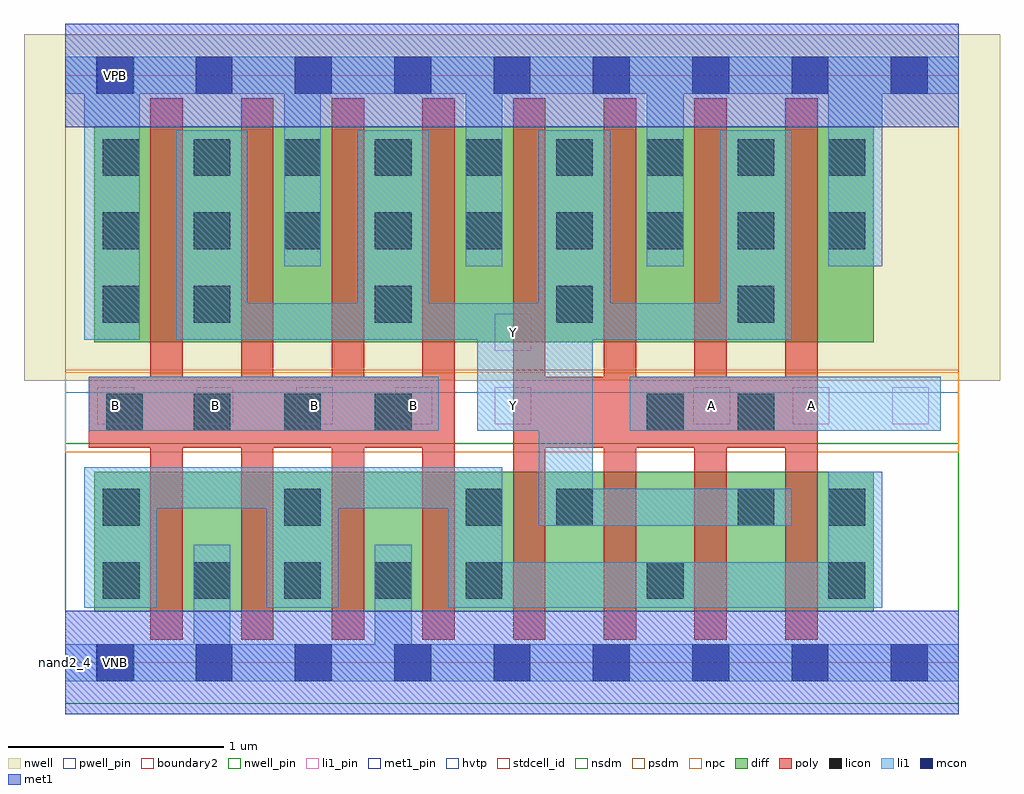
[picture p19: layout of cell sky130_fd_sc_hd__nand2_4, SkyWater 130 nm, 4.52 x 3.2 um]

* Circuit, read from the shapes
.subckt sky130_fd_sc_hd__nand2_4 A B VGND VNB VPB VPWR Y
XM1 VGND B n1 VNB sky130_fd_pr__nfet_01v8 w=0.65 l=0.15 m=4
XM2 Y A n1 VNB sky130_fd_pr__nfet_01v8 w=0.65 l=0.15 m=4
XM3 Y B VPWR VPB sky130_fd_pr__pfet_01v8_hvt w=1 l=0.15 m=4
XM4 Y A VPWR VPB sky130_fd_pr__pfet_01v8_hvt w=1 l=0.15 m=4
.ends

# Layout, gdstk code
import gdstk
lib = gdstk.Library(unit=1e-6, precision=1e-09)
def R(c, l, rs):  # rectangles x0, y0, x1, y1
    for r in rs: c.add(gdstk.rectangle(r[:2], r[2:], *l))
def A(c, l, x, y, w, h, nx, ny, dx, dy):  # array of equal rectangles
    R(c, l, [(x+i*dx, y+j*dy, x+i*dx+w, y+j*dy+h) for i in range(nx) for j in range(ny)])
def P(c, l, *ps):  # polygons
    for p in ps: c.add(gdstk.Polygon(p, *l))
nwell_pin = (64, 16)
nwell = (64, 20)
diff = (65, 20)
poly = (66, 20)
licon = (66, 44)
li1_pin = (67, 16)
li1 = (67, 20)
mcon = (67, 44)
met1_pin = (68, 16)
met1 = (68, 20)
hvtp = (78, 44)
stdcell_id = (81, 4)
nsdm = (93, 44)
psdm = (94, 20)
npc = (95, 20)
pwell_pin = (122, 16)
boundary2 = (236, 0)

sky130_fd_sc_hd__nand2_4 = lib.new_cell('sky130_fd_sc_hd__nand2_4')
R(sky130_fd_sc_hd__nand2_4, nwell_pin, [(0.15,2.635,0.32,2.805)])
R(sky130_fd_sc_hd__nand2_4, nwell, [(-0.19,1.305,4.33,2.91)])
R(sky130_fd_sc_hd__nand2_4, diff, [(0.135,0.235,3.745,0.885), (0.135,1.485,3.745,2.485)])
P(sky130_fd_sc_hd__nand2_4, poly, [(1.805,2.615),(1.655,2.615),(1.655,1.325),(1.385,1.325),(1.385,2.615),(1.235,2.615),(1.235,1.325),(0.965,1.325),(0.965,2.615),(0.815,2.615),(0.815,1.325),(0.545,1.325),(0.545,2.615),(0.395,2.615),(0.395,1.325),(0.11,1.325),(0.11,0.995),(0.395,0.995),(0.395,0.105),(0.545,0.105),(0.545,0.995),(0.815,0.995),(0.815,0.105),(0.965,0.105),(0.965,0.995),(1.235,0.995),(1.235,0.105),(1.385,0.105),(1.385,0.995),(1.655,0.995),(1.655,0.105),(1.805,0.105)],
  [(3.485,2.615),(3.335,2.615),(3.335,1.325),(3.065,1.325),(3.065,2.615),(2.915,2.615),(2.915,1.325),(2.645,1.325),(2.645,2.615),(2.495,2.615),(2.495,1.325),(2.225,1.325),(2.225,2.615),(2.075,2.615),(2.075,0.105),(2.225,0.105),(2.225,0.995),(2.495,0.995),(2.495,0.105),(2.645,0.105),(2.645,0.995),(2.915,0.995),(2.915,0.105),(3.065,0.105),(3.065,0.995),(3.335,0.995),(3.335,0.105),(3.485,0.105)])
A(sky130_fd_sc_hd__nand2_4, licon, 0.175, 0.295, 0.17, 0.17, 5, 1, 0.42, 0)
A(sky130_fd_sc_hd__nand2_4, licon, 0.175, 0.635, 0.17, 0.17, 3, 1, 0.84, 0)
A(sky130_fd_sc_hd__nand2_4, licon, 0.595, 1.075, 0.17, 0.17, 3, 1, 0.42, 0)
A(sky130_fd_sc_hd__nand2_4, licon, 0.595, 1.575, 0.17, 0.17, 4, 1, 0.84, 0)
A(sky130_fd_sc_hd__nand2_4, licon, 0.175, 1.915, 0.17, 0.17, 9, 2, 0.42, 0.34)
R(sky130_fd_sc_hd__nand2_4, licon, [(2.695,0.295,2.865,0.465), (3.535,0.295,3.705,0.465), (2.275,0.635,2.445,0.805), (3.115,0.635,3.285,0.805), (3.535,0.635,3.705,0.805), (0.19,1.075,0.36,1.245), (2.695,1.075,2.865,1.245), (3.115,1.075,3.285,1.245), (0.175,1.575,0.345,1.745)])
A(sky130_fd_sc_hd__nand2_4, li1_pin, 0.15, 1.105, 0.17, 0.17, 5, 1, 0.46, 0)
A(sky130_fd_sc_hd__nand2_4, li1_pin, 2.91, 1.105, 0.17, 0.17, 3, 1, 0.46, 0)
R(sky130_fd_sc_hd__nand2_4, li1_pin, [(1.99,1.445,2.16,1.615)])
R(sky130_fd_sc_hd__nand2_4, li1, [(0.11,1.075,1.73,1.325), (2.615,1.075,4.055,1.325)])
P(sky130_fd_sc_hd__nand2_4, li1, [(4.14,0.085),(1.605,0.085),(1.605,0.545),(1.435,0.545),(1.435,0.085),(0.765,0.085),(0.765,0.545),(0.595,0.545),(0.595,0.085),(0,0.085),(0,-0.085),(4.14,-0.085)],
  [(4.14,2.805),(0,2.805),(0,2.635),(0.09,2.635),(0.09,1.495),(0.345,1.495),(0.345,2.635),(1.015,2.635),(1.015,1.835),(1.185,1.835),(1.185,2.635),(1.855,2.635),(1.855,1.835),(2.025,1.835),(2.025,2.635),(2.695,2.635),(2.695,1.835),(2.865,1.835),(2.865,2.635),(3.535,2.635),(3.535,1.835),(3.785,1.835),(3.785,2.635),(4.14,2.635)],
  [(3.785,0.885),(3.535,0.885),(3.535,0.465),(2.025,0.465),(2.025,0.905),(0.09,0.905),(0.09,0.255),(0.425,0.255),(0.425,0.715),(0.935,0.715),(0.935,0.255),(1.265,0.255),(1.265,0.715),(1.775,0.715),(1.775,0.255),(3.785,0.255)],
  [(3.365,0.805),(2.445,0.805),(2.445,1.495),(3.365,1.495),(3.365,2.465),(3.035,2.465),(3.035,1.665),(2.525,1.665),(2.525,2.465),(2.195,2.465),(2.195,1.665),(1.685,1.665),(1.685,2.465),(1.355,2.465),(1.355,1.665),(0.845,1.665),(0.845,2.465),(0.515,2.465),(0.515,1.495),(1.91,1.495),(1.91,1.075),(2.195,1.075),(2.195,0.635),(3.365,0.635)])
A(sky130_fd_sc_hd__nand2_4, mcon, 0.145, -0.085, 0.17, 0.17, 9, 2, 0.46, 2.72)
R(sky130_fd_sc_hd__nand2_4, met1_pin, [(0.15,-0.085,0.32,0.085), (0.15,2.635,0.32,2.805)])
R(sky130_fd_sc_hd__nand2_4, hvtp, [(0,1.25,4.14,2.72)])
R(sky130_fd_sc_hd__nand2_4, stdcell_id, [(0,0,4.14,2.72)])
R(sky130_fd_sc_hd__nand2_4, nsdm, [(0,-0.19,4.14,1.015)])
R(sky130_fd_sc_hd__nand2_4, psdm, [(0,1.355,4.14,2.91)])
R(sky130_fd_sc_hd__nand2_4, npc, [(0,0.975,4.14,1.345)])
R(sky130_fd_sc_hd__nand2_4, pwell_pin, [(0.15,-0.085,0.32,0.085)])
R(sky130_fd_sc_hd__nand2_4, boundary2, [(0,0,4.14,2.72)])
sky130_fd_sc_hd__nand2_4.add(gdstk.FlexPath([(0,2.72),(4.14,2.72)], 0.48, ends="flush", simple_path=True, layer=68, datatype=20))  # met1
sky130_fd_sc_hd__nand2_4.add(gdstk.FlexPath([(0,0),(4.14,0)], 0.48, ends="flush", simple_path=True, layer=68, datatype=20))  # met1
sky130_fd_sc_hd__nand2_4.add(gdstk.Label('Y', (2.075,1.19), layer=67, texttype=5))
sky130_fd_sc_hd__nand2_4.add(gdstk.Label('Y', (2.075,1.53), layer=67, texttype=5))
sky130_fd_sc_hd__nand2_4.add(gdstk.Label('A', (3.455,1.19), layer=67, texttype=5))
sky130_fd_sc_hd__nand2_4.add(gdstk.Label('A', (2.995,1.19), layer=67, texttype=5))
sky130_fd_sc_hd__nand2_4.add(gdstk.Label('B', (1.615,1.19), layer=67, texttype=5))
sky130_fd_sc_hd__nand2_4.add(gdstk.Label('B', (1.155,1.19), layer=67, texttype=5))
sky130_fd_sc_hd__nand2_4.add(gdstk.Label('B', (0.235,1.19), layer=67, texttype=5))
sky130_fd_sc_hd__nand2_4.add(gdstk.Label('B', (0.695,1.19), layer=67, texttype=5))
sky130_fd_sc_hd__nand2_4.add(gdstk.Label('VPB', (0.235,2.72), layer=64, texttype=5))
sky130_fd_sc_hd__nand2_4.add(gdstk.Label('VNB', (0.235,0), layer=64, texttype=59))
sky130_fd_sc_hd__nand2_4.add(gdstk.Label('VGND', (0.235,0), layer=68, texttype=5))
sky130_fd_sc_hd__nand2_4.add(gdstk.Label('VPWR', (0.235,2.72), layer=68, texttype=5))
sky130_fd_sc_hd__nand2_4.add(gdstk.Label('nand2_4', (0,0), layer=83, texttype=44))

lib.write_gds('sky130_fd_sc_hd__nand2_4.gds')
